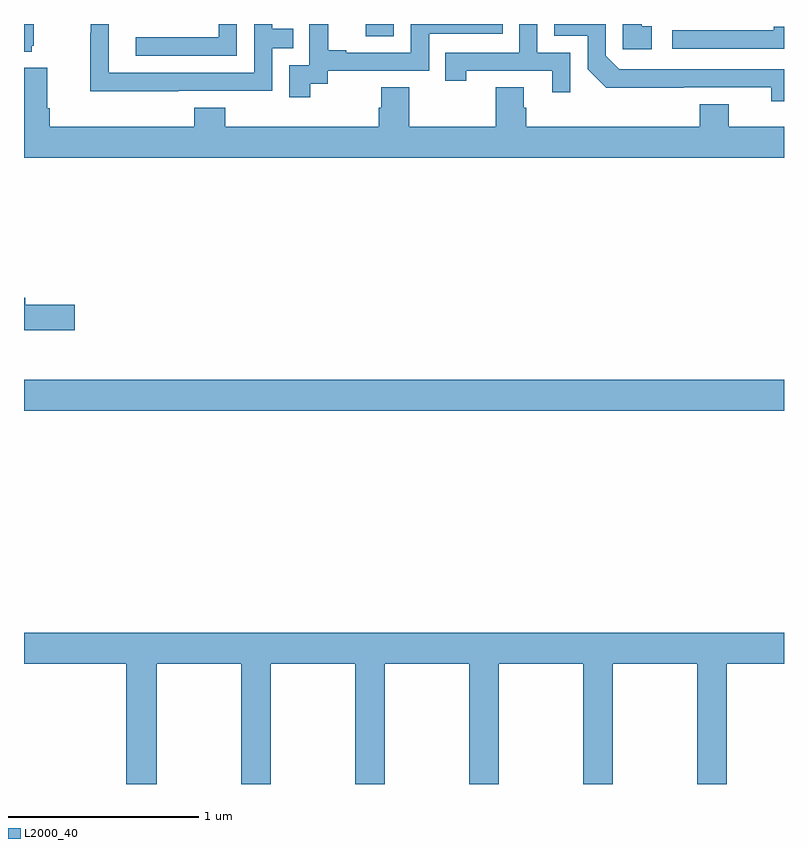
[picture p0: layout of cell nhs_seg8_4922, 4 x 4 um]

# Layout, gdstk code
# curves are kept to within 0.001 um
import gdstk
lib = gdstk.Library(unit=1e-6, precision=1e-09)
def R(c, l, rs):  # rectangles x0, y0, x1, y1
    for r in rs: c.add(gdstk.rectangle(r[:2], r[2:], *l))
def P(c, l, *ps):  # polygons
    for p in ps: c.add(gdstk.Polygon(p, *l))
L2000_40 = (2000, 40)

nhs_seg8_4922 = lib.new_cell('nhs_seg8_4922')
R(nhs_seg8_4922, L2000_40, [(409,1085.864,413,1086.028), (410.799,1087.836,410.946,1087.9)])
P(nhs_seg8_4922, L2000_40, [(411.876,1087.749),(411.702,1087.749),(411.702,1087.9),(411.606,1087.9),(411.606,1087.749),(411.217,1087.749),(411.217,1087.602),(411.328,1087.602),(411.328,1087.653),(411.779,1087.653),(411.779,1087.542),(411.876,1087.542)],
  [(410.121,1087.9),(410.025,1087.9),(410.025,1087.83),(409.587,1087.83),(409.587,1087.734),(410.121,1087.734)],
  [(409.04,1087.785),(409.051,1087.785),(409.051,1087.9),(409,1087.9),(409,1087.754),(409.04,1087.754)],
  [(413,1087.662),(412.134,1087.662),(412.062,1087.734),(412.062,1087.9),(411.792,1087.9),(411.792,1087.839),(411.966,1087.839),(411.966,1087.662),(412.064,1087.565),(412.932,1087.566),(412.932,1087.493),(413,1087.493)],
  [(412.303,1087.887),(412.25,1087.887),(412.25,1087.9),(412.152,1087.9),(412.152,1087.767),(412.303,1087.767)],
  [(409.811,1087.548),(410.307,1087.548),(410.307,1087.773),(410.417,1087.773),(410.417,1087.874),(410.307,1087.874),(410.307,1087.9),(410.211,1087.9),(410.211,1087.644),(409.446,1087.644),(409.446,1087.9),(409.35,1087.9),(409.35,1087.853),(409.348,1087.853),(409.348,1087.547),(409.811,1087.547)],
  [(410.506,1087.585),(410.598,1087.585),(410.598,1087.653),(411.132,1087.653),(411.132,1087.848),(411.521,1087.848),(411.521,1087.9),(411.036,1087.9),(411.036,1087.749),(410.695,1087.749),(410.695,1087.762),(410.6,1087.762),(410.6,1087.9),(410.502,1087.9),(410.502,1087.683),(410.397,1087.683),(410.397,1087.515),(410.506,1087.515)],
  [(413,1087.886),(412.945,1087.886),(412.945,1087.866),(412.413,1087.866),(412.413,1087.77),(413,1087.77)],
  [(413,1087.36),(412.708,1087.36),(412.708,1087.477),(412.556,1087.477),(412.556,1087.36),(411.644,1087.36),(411.644,1087.458),(411.631,1087.458),(411.631,1087.568),(411.484,1087.568),(411.484,1087.36),(411.027,1087.36),(411.027,1087.568),(410.879,1087.568),(410.879,1087.458),(410.867,1087.458),(410.867,1087.36),(410.06,1087.36),(410.06,1087.459),(409.895,1087.459),(409.895,1087.36),(409.136,1087.36),(409.136,1087.456),(409.123,1087.456),(409.123,1087.669),(409,1087.669),(409,1087.196),(413,1087.196)],
  [(409.267,1086.422),(409.006,1086.422),(409.006,1086.458),(409,1086.458),(409,1086.287),(409.267,1086.287)],
  [(410.898,1084.532),(411.343,1084.532),(411.343,1083.9),(411.498,1083.9),(411.498,1084.532),(411.943,1084.532),(411.943,1083.9),(412.098,1083.9),(412.098,1084.532),(412.543,1084.532),(412.543,1083.9),(412.698,1083.9),(412.698,1084.532),(413,1084.532),(413,1084.696),(409,1084.696),(409,1084.532),(409.538,1084.532),(409.538,1083.9),(409.698,1083.9),(409.698,1084.532),(410.143,1084.532),(410.143,1083.9),(410.298,1083.9),(410.298,1084.532),(410.743,1084.532),(410.743,1083.9),(410.898,1083.9)])

lib.write_gds('nhs_seg8_4922.gds')
